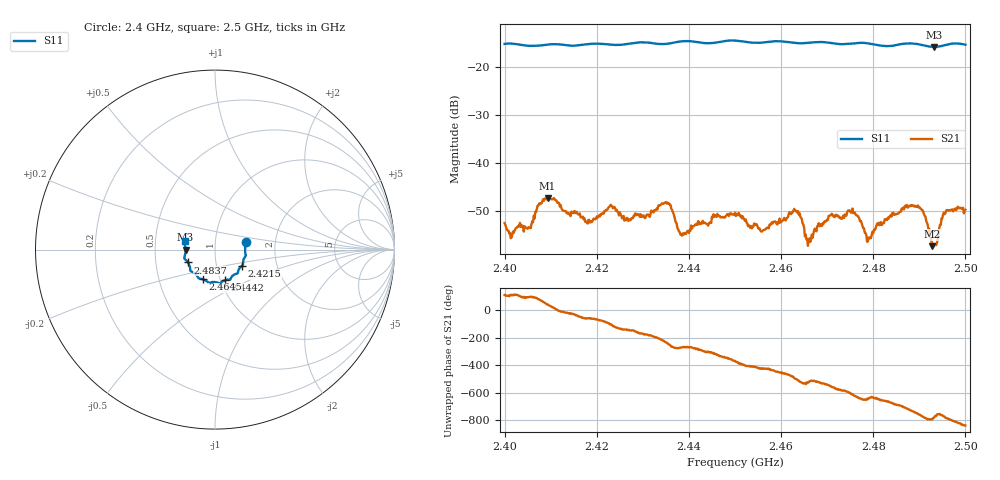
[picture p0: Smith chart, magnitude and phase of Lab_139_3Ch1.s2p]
# Hz S RI R 50
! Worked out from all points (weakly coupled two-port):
!   601 points, 2.4 GHz to 2.5 GHz, reference 50 ohm
!   highest |S21| = -47.22 dB at 2.4093 GHz (marker M1); lowest = -57.3 dB at 2.4928 GHz (marker M2)
!   lowest |S11| = -15.7 dB at 2.4932 GHz (marker M3), VSWR 1.39, Z = 35.9 - j0.066 ohm
!   |S11| at or under -10 dB: start of sweep to end of sweep
!   S12 and S22 are empty: the file has one direction only
!   S11 on the Smith chart (normalised r, x): 2.4 GHz: 1.41, +0.12; 2.4215 GHz: 1.33, -0.25; 2.4442 GHz: 1.05, -0.37; 2.4645 GHz: 0.83, -0.29; 2.4837 GHz: 0.73, -0.11; 2.5 GHz: 0.71, +0.07
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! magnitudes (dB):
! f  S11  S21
! 2.4 GHz  -15.1  -52.4
! 2.4052 GHz  -15.5  -53.3
! 2.4093 GHz  -15.2  -47.2
! 2.4167 GHz  -15.3  -51.3
! 2.4215 GHz  -15.1  -50.5
! 2.4333 GHz  -15.1  -48.9
! 2.4355 GHz  -15.0  -48.3
! 2.4385 GHz  -14.6  -55.1
! 2.4442 GHz  -15.0  -53.0
! 2.45 GHz  -14.4  -50.3
! 2.4645 GHz  -15.0  -51.6
! 2.4667 GHz  -14.8  -54.9
! 2.4708 GHz  -14.9  -50.8
! 2.4758 GHz  -15.0  -50.3
! 2.479 GHz  -15.0  -55.5
! 2.4833 GHz  -15.6  -51.5
! 2.4837 GHz  -15.5  -51.1
! 2.4898 GHz  -15.2  -49.2
! 2.4928 GHz  -15.7  -57.3
! 2.4932 GHz  -15.7  -57.2
! 2.4957 GHz  -15.3  -50.4
! 2.5 GHz  -15.3  -49.7
